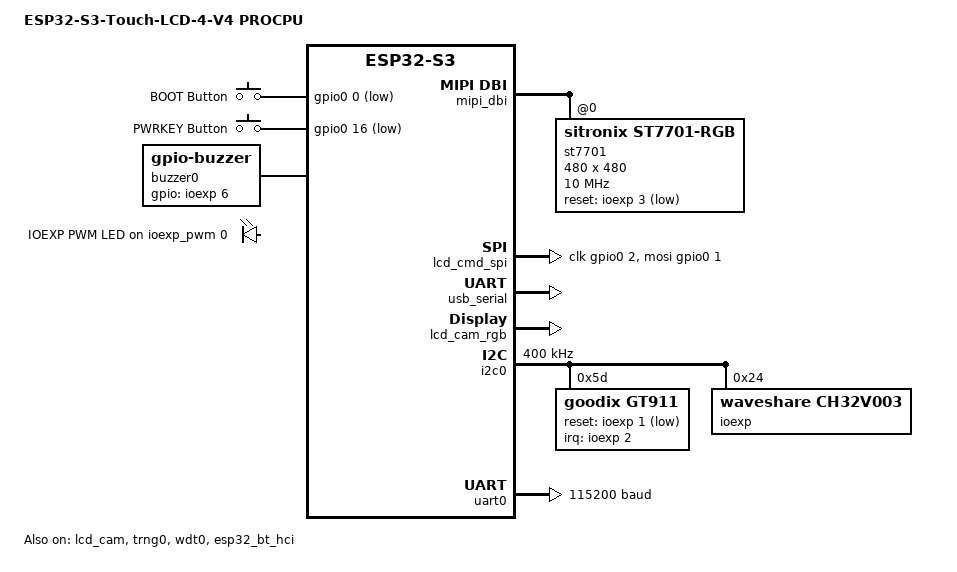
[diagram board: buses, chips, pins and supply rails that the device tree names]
/*
 * Copyright (c) 2026 Kim Bøndergaard
 * SPDX-License-Identifier: Apache-2.0
 */

/dts-v1/;
#include <espressif/esp32s3/esp32s3.dtsi>
#include "esp32s3_touch_lcd_4_v4-pinctrl.dtsi"
#include <zephyr/dt-bindings/display/panel.h>
#include <zephyr/dt-bindings/input/input-event-codes.h>
#include <zephyr/dt-bindings/pwm/pwm.h>
#include <espressif/partitions_0x0_amp_16M.dtsi>

/ {
	model = "ESP32-S3-Touch-LCD-4-V4 PROCPU";
	compatible = "waveshare,esp32-s3-touch-lcd-4-v4";

	aliases {
		i2c-0 = &i2c0;
		backlight = &backlight_led;
		buzzer-0 = &buzzer0;
		sw0 = &boot_btn;
		uart-0 = &uart0;
		watchdog0 = &wdt0;
		display = &lcd_cam_rgb;
	};

	chosen {
		zephyr,sram = &sram1;
		zephyr,console = &usb_serial;
		zephyr,shell-uart = &usb_serial;
		zephyr,flash = &flash0;
		zephyr,code-partition = &slot0_partition;
		zephyr,display = &lcd_cam_rgb;
		zephyr,bt-hci = &esp32_bt_hci;
		zephyr,touch = &gt911;
	};

	buttons {
		compatible = "gpio-keys";

		boot_btn: button_0 {
			gpios = <&gpio0 0 (GPIO_PULL_UP | GPIO_ACTIVE_LOW)>;
			label = "BOOT Button";
			zephyr,code = <INPUT_KEY_0>;
		};

		pwrkey_btn: button_1 {
			gpios = <&gpio0 16 (GPIO_PULL_UP | GPIO_ACTIVE_LOW)>;
			label = "PWRKEY Button";
			zephyr,code = <INPUT_KEY_1>;
		};
	};

	buzzer0: buzzer {
		compatible = "gpio-buzzer";
		gpios = <&ioexp 6 GPIO_ACTIVE_HIGH>;
	};

	mipi_dbi {
		compatible = "zephyr,mipi-dbi-spi";
		spi-dev = <&lcd_cmd_spi>;
		write-only;
		#address-cells = <1>;
		#size-cells = <0>;

		st7701: st7701@0 {
			status = "okay";
			compatible = "sitronix,st7701-rgb";
			reg = <0>;
			mipi-max-frequency = <DT_FREQ_M(10)>;
			mipi-mode = "MIPI_DBI_MODE_SPI_3WIRE";
			reset-gpios = <&ioexp 3 GPIO_ACTIVE_LOW>;
			reset-delay-ms = <20>;

			pvgamctrl = [b0 00 11 18 0e 11 06 07 08 07 22 04 12 0f aa 31 18];
			nvgamctrl = [b1 00 11 19 0e 12 07 08 08 08 22 04 11 11 a9 32 18];

			gip-e0 = [e0 00 1b 02];
			gip-e1 = [e1 08 a0 00 00 07 a0 00 00 00 44 44];
			gip-e2 = [e2 11 11 44 44 ed a0 00 00 ec a0 00 00];
			gip-e3 = [e3 00 00 11 11];
			gip-e4 = [e4 44 44];
			gip-e5 = [e5 0a e9 d8 a0 0c eb d8 a0 0e ed d8 a0 10 ef d8 a0];
			gip-e6 = [e6 00 00 11 11];
			gip-e7 = [e7 44 44];
			gip-e8 = [e8 09 e8 d8 a0 0b ea d8 a0 0d ec d8 a0 0f ee d8 a0];
			gip-eb = [eb 02 00 e4 e4 88 00 40];
			gip-ec = [ec 3c 00];
			gip-ed = [ed ab 89 76 54 02 ff ff ff ff ff ff 20 45 67 98 ba];
			inversion-on;
			width = <480>;
			height = <480>;
		};
	};

	lcd_cmd_spi: spi-bitbang {
		compatible = "zephyr,spi-bitbang";
		status = "okay";
		#address-cells = <1>;
		#size-cells = <0>;
		clk-gpios = <&gpio0 2 GPIO_ACTIVE_HIGH>;
		mosi-gpios = <&gpio0 1 GPIO_ACTIVE_HIGH>;
		cs-gpios = <&gpio1 10 GPIO_ACTIVE_LOW>;
	};

	pwmleds {
		compatible = "pwm-leds";

		backlight_led: ioexp_pwm_led {
			label = "IOEXP PWM LED";
			pwms = <&ioexp_pwm 0 PWM_USEC(500) PWM_POLARITY_INVERTED>;
		};
	};
};

&flash0 {
	/delete-node/ partitions;
};

&flash0 {
	reg = <0x0 DT_SIZE_M(16)>;
	ranges = <0x0 0x0 DT_SIZE_M(16)>;
};

#include <espressif/partitions_0x0_amp_16M.dtsi>

&psram0 {
	size = <DT_SIZE_M(8)>;
};

&usb_serial {
	status = "okay";
};

&gpio0 {
	status = "okay";
};

&gpio1 {
	status = "okay";
};

&dma {
	status = "okay";
};

&lcd_cam {
	status = "okay";
	pinctrl-0 = <&lcd_cam_default>;
	pinctrl-names = "default";
};

&lcd_cam_rgb {
	status = "okay";
	width = <480>;
	height = <480>;
	data-bus-width = <16>;
	display-controller = <&st7701>;

	display-timings {
		compatible = "zephyr,panel-timing";
		clock-frequency = <DT_FREQ_M(16)>;
		hsync-len = <10>;
		hback-porch = <10>;
		hfront-porch = <20>;
		vsync-len = <10>;
		vback-porch = <10>;
		vfront-porch = <10>;
		hsync-active = <0>;
		vsync-active = <0>;
		de-active = <1>;
		pixelclk-active = <1>;
	};
};

&i2c0 {
	status = "okay";
	clock-frequency = <I2C_BITRATE_FAST>;
	pinctrl-0 = <&i2c0_default>;
	pinctrl-names = "default";
	recover-bus-on-init;

	gt911: gt911@5d {
		compatible = "goodix,gt911";
		reg = <0x5d>;
		reset-gpios = <&ioexp 1 GPIO_ACTIVE_LOW>;
		irq-gpios = <&ioexp 2 GPIO_ACTIVE_HIGH>;
		screen-width = <480>;
		screen-height = <480>;
	};

	/* To come RTC on address <0x51> */

	ioexp: ioexp@24 {
		status = "okay";
		compatible = "waveshare,ch32v003";
		reg = <0x24>;

		gpio-controller;
		#gpio-cells = <2>;
		ngpios = <8>;

		ioexp_pwm: pwm {
			status = "okay";
			compatible = "waveshare,ch32v003-pwm";
			pwm-controller;
			#pwm-cells = <3>;
		};

		ioexp_adc: adc {
			status = "okay";
			compatible = "waveshare,ch32v003-adc";
			#io-channel-cells = <1>;
		};

		sys_en_hog: sys-en-hog {
			gpio-hog;
			gpios = <5 GPIO_ACTIVE_HIGH>;
			output-high;
		};
	};
};

&trng0 {
	status = "okay";
};

&uart0 { /* rs485 */
	status = "okay";
	current-speed = <115200>;
	pinctrl-0 = <&uart0_default>;
	pinctrl-names = "default";
};

&wdt0 {
	status = "okay";
};

&esp32_bt_hci {
	status = "okay";
};
